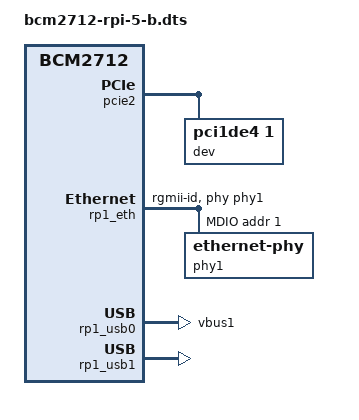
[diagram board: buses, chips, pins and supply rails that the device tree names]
// SPDX-License-Identifier: (GPL-2.0 OR MIT)
/*
 * As a loose attempt to separate RP1 customizations from SoC peripherals
 * definitioni, this file is intended to host the override nodes for the RP1
 * peripherals, e.g. to declare the phy of the ethernet interface or custom
 * pin setup.
 * All other nodes that do not have anything to do with RP1 should be added
 * to the included bcm2712-rpi-5-b-base.dtsi instead.
 */

/dts-v1/;

#include "bcm2712-rpi-5-b-base.dtsi"

/ {
	aliases {
		ethernet0 = &rp1_eth;
	};
};

&pcie2 {
	pci@0,0 {
		reg = <0x0 0x0 0x0 0x0 0x0>;
		ranges;
		bus-range = <0 1>;
		device_type = "pci";
		#address-cells = <3>;
		#size-cells = <2>;

		dev@0,0 {
			compatible = "pci1de4,1";
			reg = <0x10000 0x0 0x0 0x0 0x0>;
			ranges = <0x1 0x0 0x0 0x82010000 0x0 0x0 0x0 0x400000>;
			interrupt-controller;
			#interrupt-cells = <2>;
			#address-cells = <3>;
			#size-cells = <2>;

			#include "rp1-common.dtsi"
		};
	};
};

&rp1_eth {
	assigned-clocks = <&rp1_clocks RP1_CLK_ETH_TSU>,
			  <&rp1_clocks RP1_CLK_ETH>;
	assigned-clock-rates = <50000000>,
			       <125000000>;
	status = "okay";
	phy-mode = "rgmii-id";
	phy-handle = <&phy1>;

	mdio {
		reg = <0x1>;
		reset-gpios = <&rp1_gpio 32 GPIO_ACTIVE_LOW>;
		reset-delay-us = <5000>;
		#address-cells = <1>;
		#size-cells = <0>;

		phy1: ethernet-phy@1 {
			reg = <0x1>;
		};
	};
};

&rp1_gpio {
	usb_vbus_default_state: usb-vbus-default-state {
		function = "vbus1";
		groups = "vbus1";
	};
};

&rp1_usb0 {
	pinctrl-0 = <&usb_vbus_default_state>;
	pinctrl-names = "default";
	status = "okay";
};

&rp1_usb1 {
	status = "okay";
};
